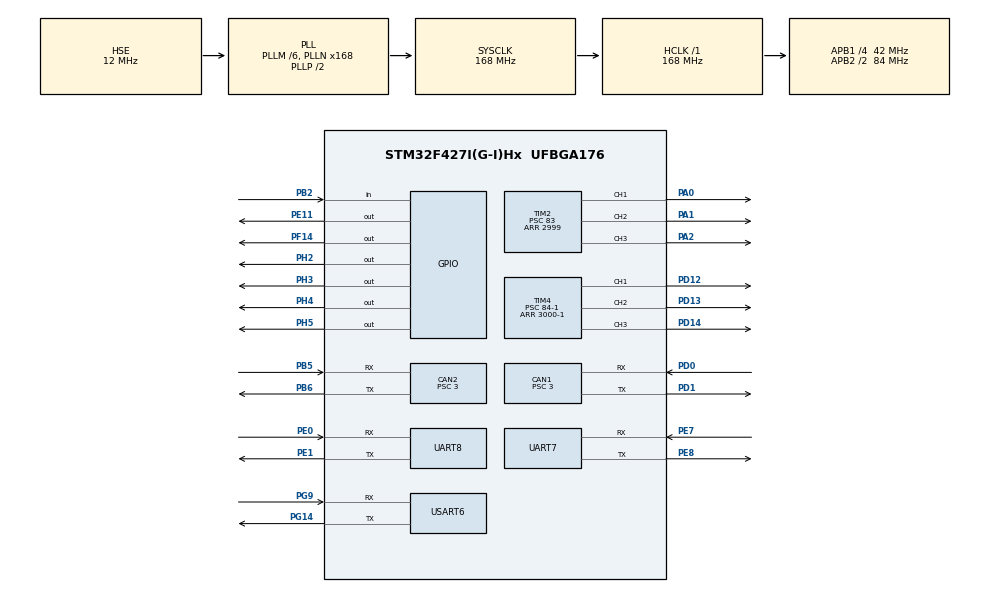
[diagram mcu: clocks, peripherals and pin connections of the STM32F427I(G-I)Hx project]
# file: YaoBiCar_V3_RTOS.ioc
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CAN1.BS1=CAN_BS1_10TQ
CAN1.BS2=CAN_BS2_3TQ
CAN1.CalculateBaudRate=1000000
CAN1.CalculateTimeBit=1000
CAN1.CalculateTimeQuantum=71.42857142857143
CAN1.Prescaler=3
CAN2.BS1=CAN_BS1_10TQ
CAN2.BS2=CAN_BS2_3TQ
CAN2.CalculateBaudRate=1000000
CAN2.CalculateTimeBit=1000
CAN2.CalculateTimeQuantum=71.42857142857143
CAN2.Prescaler=3
Dma.Request0=UART8_RX
Dma.Request1=UART8_TX
Dma.UART8_RX.0.Direction=DMA_PERIPH_TO_MEMORY
Dma.UART8_RX.0.FIFOMode=DMA_FIFOMODE_DISABLE
Dma.UART8_RX.0.Instance=DMA1_Stream6
Dma.UART8_RX.0.MemDataAlignment=DMA_MDATAALIGN_BYTE
Dma.UART8_RX.0.MemInc=DMA_MINC_ENABLE
Dma.UART8_RX.0.Mode=DMA_CIRCULAR
Dma.UART8_RX.0.PeriphDataAlignment=DMA_PDATAALIGN_BYTE
Dma.UART8_RX.0.PeriphInc=DMA_PINC_DISABLE
Dma.UART8_RX.0.Priority=DMA_PRIORITY_VERY_HIGH
Dma.UART8_TX.1.Direction=DMA_MEMORY_TO_PERIPH
Dma.UART8_TX.1.FIFOMode=DMA_FIFOMODE_DISABLE
Dma.UART8_TX.1.Instance=DMA1_Stream0
Dma.UART8_TX.1.MemDataAlignment=DMA_MDATAALIGN_BYTE
Dma.UART8_TX.1.MemInc=DMA_MINC_ENABLE
Dma.UART8_TX.1.Mode=DMA_CIRCULAR
Dma.UART8_TX.1.PeriphDataAlignment=DMA_PDATAALIGN_BYTE
Dma.UART8_TX.1.PeriphInc=DMA_PINC_DISABLE
Dma.UART8_TX.1.Priority=DMA_PRIORITY_VERY_HIGH
FREERTOS.Tasks01=FreeTask,8,128,Free_Task,Default,NULL,Dynamic,NULL,NULL
Mcu.Family=STM32F4
Mcu.Name=STM32F427I(G-I)Hx
Mcu.Package=UFBGA176
NVIC.CAN1_RX0_IRQn=true\:5\:0\:false\:false\:true\:true\:true\:true\:true
NVIC.CAN2_RX0_IRQn=true\:5\:0\:false\:false\:true\:true\:true\:true\:true
NVIC.DMA1_Stream0_IRQn=true\:5\:0\:false\:false\:true\:true\:false\:true\:true
NVIC.DMA1_Stream6_IRQn=true\:5\:0\:false\:false\:true\:true\:false\:true\:true
NVIC.PriorityGroup=NVIC_PRIORITYGROUP_4
NVIC.RCC_IRQn=true\:5\:0\:false\:false\:true\:true\:true\:false\:true
NVIC.TIM1_UP_TIM10_IRQn=true\:5\:0\:false\:false\:true\:true\:true\:true\:true
NVIC.TIM3_IRQn=true\:5\:0\:false\:false\:true\:true\:true\:true\:true
NVIC.TIM4_IRQn=true\:5\:0\:false\:false\:true\:true\:true\:true\:true
NVIC.TIM8_BRK_TIM12_IRQn=true\:5\:0\:false\:false\:true\:true\:true\:true\:true
NVIC.TIM8_TRG_COM_TIM14_IRQn=true\:15\:0\:false\:false\:true\:false\:false\:true\:true
NVIC.TimeBase=TIM8_TRG_COM_TIM14_IRQn
NVIC.TimeBaseIP=TIM14
NVIC.UART7_IRQn=true\:5\:0\:false\:false\:true\:true\:true\:true\:true
NVIC.UART8_IRQn=true\:5\:0\:false\:false\:true\:true\:true\:true\:true
PA0/WKUP.Signal=S_TIM2_CH1_ETR
PA1.Signal=S_TIM2_CH2
PA13.Mode=Serial_Wire
PA13.Signal=SYS_JTMS-SWDIO
PA14.Mode=Serial_Wire
PA14.Signal=SYS_JTCK-SWCLK
PA2.Signal=S_TIM2_CH3
PB2/BOOT1.GPIO_PuPd=GPIO_PULLDOWN
PB2/BOOT1.Signal=GPIO_Input
PB5.Mode=CAN_Activate
PB5.Signal=CAN2_RX
PB6.Mode=CAN_Activate
PB6.Signal=CAN2_TX
PD0.Mode=CAN_Activate
PD0.Signal=CAN1_RX
PD1.Mode=CAN_Activate
PD1.Signal=CAN1_TX
PD12.Signal=S_TIM4_CH1
PD13.Signal=S_TIM4_CH2
PD14.Signal=S_TIM4_CH3
PE0.GPIO_PuPd=GPIO_PULLDOWN
PE0.Mode=Asynchronous
PE0.Signal=UART8_RX
PE1.GPIO_PuPd=GPIO_PULLDOWN
PE1.Mode=Asynchronous
PE1.Signal=UART8_TX
PE11.Signal=GPIO_Output
PE7.Mode=Asynchronous
PE7.Signal=UART7_RX
PE8.Mode=Asynchronous
PE8.Signal=UART7_TX
PF14.Signal=GPIO_Output
PG14.GPIO_PuPd=GPIO_PULLDOWN
PG14.Mode=Asynchronous
PG14.Signal=USART6_TX
PG9.Mode=Asynchronous
PG9.Signal=USART6_RX
PH0/OSC_IN.Mode=HSE-External-Oscillator
PH0/OSC_IN.Signal=RCC_OSC_IN
PH1/OSC_OUT.Mode=HSE-External-Oscillator
PH1/OSC_OUT.Signal=RCC_OSC_OUT
PH2.PinState=GPIO_PIN_SET
PH2.Signal=GPIO_Output
PH3.PinState=GPIO_PIN_SET
PH3.Signal=GPIO_Output
PH4.PinState=GPIO_PIN_SET
PH4.Signal=GPIO_Output
PH5.PinState=GPIO_PIN_SET
PH5.Signal=GPIO_Output
ProjectManager.HeapSize=0x200
ProjectManager.StackSize=0x400
ProjectManager.TargetToolchain=MDK-ARM V5.32
RCC.48MHZClocksFreq_Value=84000000
RCC.AHBFreq_Value=168000000
RCC.APB1CLKDivider=RCC_HCLK_DIV4
RCC.APB1Freq_Value=42000000
RCC.APB1TimFreq_Value=84000000
RCC.APB2CLKDivider=RCC_HCLK_DIV2
RCC.APB2Freq_Value=84000000
RCC.APB2TimFreq_Value=168000000
RCC.CortexFreq_Value=168000000
RCC.HCLKFreq_Value=168000000
RCC.HSE_VALUE=12000000
RCC.HSI_VALUE=16000000
RCC.LSE_VALUE=32768
RCC.PLLM=6
RCC.PLLN=168
RCC.PLLSourceVirtual=RCC_PLLSOURCE_HSE
RCC.SYSCLKFreq_VALUE=168000000
RCC.SYSCLKSource=RCC_SYSCLKSOURCE_PLLCLK
RCC.VCOOutputFreq_Value=336000000
SH.S_TIM2_CH1_ETR.0=TIM2_CH1,PWM Generation1 CH1
SH.S_TIM2_CH2.0=TIM2_CH2,PWM Generation2 CH2
SH.S_TIM2_CH3.0=TIM2_CH3,PWM Generation3 CH3
SH.S_TIM4_CH1.0=TIM4_CH1,PWM Generation1 CH1
SH.S_TIM4_CH2.0=TIM4_CH2,PWM Generation2 CH2
SH.S_TIM4_CH3.0=TIM4_CH3,PWM Generation3 CH3
TIM1.Period=5000-1
TIM1.Prescaler=168-1
TIM12.Period=1000-1
TIM12.Prescaler=168-1
TIM2.Channel-PWM\ Generation1\ CH1=TIM_CHANNEL_1
TIM2.Channel-PWM\ Generation2\ CH2=TIM_CHANNEL_2
TIM2.Channel-PWM\ Generation3\ CH3=TIM_CHANNEL_3
TIM2.Period=2999
TIM2.Prescaler=83
TIM2.Pulse-PWM\ Generation1\ CH1=1500
TIM2.Pulse-PWM\ Generation2\ CH2=1500
TIM2.Pulse-PWM\ Generation3\ CH3=1500
TIM3.Period=83
TIM3.Prescaler=4999
TIM4.Channel-PWM\ Generation1\ CH1=TIM_CHANNEL_1
TIM4.Channel-PWM\ Generation2\ CH2=TIM_CHANNEL_2
TIM4.Channel-PWM\ Generation3\ CH3=TIM_CHANNEL_3
TIM4.Period=3000-1
TIM4.Prescaler=84-1
TIM4.Pulse-PWM\ Generation1\ CH1=1500
TIM4.Pulse-PWM\ Generation2\ CH2=1500
TIM4.Pulse-PWM\ Generation3\ CH3=1500
UART7.VirtualMode=Asynchronous
UART8.VirtualMode=Asynchronous
USART6.VirtualMode=VM_ASYNC
VP_FREERTOS_VS_CMSIS_V2.Mode=CMSIS_V2
VP_SYS_VS_tim14.Mode=TIM14
VP_TIM12_VS_ClockSourceINT.Mode=Internal
VP_TIM1_VS_ClockSourceINT.Mode=Internal
VP_TIM3_VS_ClockSourceINT.Mode=Internal
board=custom

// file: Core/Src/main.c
/* USER CODE BEGIN Header */
/**
  ******************************************************************************
  * @file           : main.c
  * @brief          : Main program body
  ******************************************************************************
  * @attention
  *
  * Copyright (c) 2025 STMicroelectronics.
  * All rights reserved.
  *
  * This software is licensed under terms that can be found in the LICENSE file
  * in the root directory of this software component.
  * If no LICENSE file comes with this software, it is provided AS-IS.
  *
  ******************************************************************************
  */
/* USER CODE END Header */
#include "main.h"
#include "cmsis_os.h"
#include "can.h"
#include "dma.h"
#include "tim.h"
#include "usart.h"
#include "gpio.h"

/* USER CODE BEGIN Includes */
#include "Variable.h"
#include "stdio.h"

/* USER CODE END Includes */

/* USER CODE BEGIN PTD */

/**
  * ��������: �ض���c�⺯��printf��DEBUG_USARTx
  * �������: ��
  * �� �� ֵ: ��
  * ˵    ������
  */
int fputc(int ch, FILE *f)
{
  HAL_UART_Transmit(&huart7, (uint8_t *)&ch, 1, 0xffff);
//    HAL_UART_Transmit_IT(&huart7,(uint8_t *)&ch,sizeof(ch));
  return ch;
}

/* USER CODE END PTD */

void SystemClock_Config(void);
void MX_FREERTOS_Init(void);

int main(void)
{

  /* MCU Configuration--------------------------------------------------------*/

  /* Reset of all peripherals, Initializes the Flash interface and the Systick. */
  HAL_Init();

  /* Configure the system clock */
  SystemClock_Config();

  /* Initialize all configured peripherals */
  MX_GPIO_Init();
  MX_DMA_Init();
  MX_TIM1_Init();
  MX_CAN1_Init();
  MX_CAN2_Init();
  MX_TIM2_Init();
  MX_TIM3_Init();
  MX_TIM4_Init();
  MX_UART8_Init();
  MX_UART7_Init();
  MX_USART6_UART_Init();
  MX_TIM12_Init();

  /* Init scheduler */
  osKernelInitialize();

  /* Call init function for freertos objects (in cmsis_os2.c) */
  MX_FREERTOS_Init();

  /* Start scheduler */
  osKernelStart();

  /* We should never get here as control is now taken by the scheduler */

  /* Infinite loop */
  while (1)
  {

  }
}

void SystemClock_Config(void)
{
  RCC_OscInitTypeDef RCC_OscInitStruct = {0};
  RCC_ClkInitTypeDef RCC_ClkInitStruct = {0};

  /** Configure the main internal regulator output voltage
  */
  __HAL_RCC_PWR_CLK_ENABLE();
  __HAL_PWR_VOLTAGESCALING_CONFIG(PWR_REGULATOR_VOLTAGE_SCALE1);

  /** Initializes the RCC Oscillators according to the specified parameters
  * in the RCC_OscInitTypeDef structure.
  */
  RCC_OscInitStruct.OscillatorType = RCC_OSCILLATORTYPE_HSE;
  RCC_OscInitStruct.HSEState = RCC_HSE_ON;
  RCC_OscInitStruct.PLL.PLLState = RCC_PLL_ON;
  RCC_OscInitStruct.PLL.PLLSource = RCC_PLLSOURCE_HSE;
  RCC_OscInitStruct.PLL.PLLM = 6;
  RCC_OscInitStruct.PLL.PLLN = 168;
  RCC_OscInitStruct.PLL.PLLP = RCC_PLLP_DIV2;
  RCC_OscInitStruct.PLL.PLLQ = 4;
  if (HAL_RCC_OscConfig(&RCC_OscInitStruct) != HAL_OK)
  {
    Error_Handler();
  }

  /** Initializes the CPU, AHB and APB buses clocks
  */
  RCC_ClkInitStruct.ClockType = RCC_CLOCKTYPE_HCLK|RCC_CLOCKTYPE_SYSCLK
                              |RCC_CLOCKTYPE_PCLK1|RCC_CLOCKTYPE_PCLK2;
  RCC_ClkInitStruct.SYSCLKSource = RCC_SYSCLKSOURCE_PLLCLK;
  RCC_ClkInitStruct.AHBCLKDivider = RCC_SYSCLK_DIV1;
  RCC_ClkInitStruct.APB1CLKDivider = RCC_HCLK_DIV4;
  RCC_ClkInitStruct.APB2CLKDivider = RCC_HCLK_DIV2;

  if (HAL_RCC_ClockConfig(&RCC_ClkInitStruct, FLASH_LATENCY_5) != HAL_OK)
  {
    Error_Handler();
  }
}

/* USER CODE BEGIN 4 */
int CNT_TIM2_PID;
/* USER CODE END 4 */

void HAL_TIM_PeriodElapsedCallback(TIM_HandleTypeDef *htim)
{
  if (htim->Instance == TIM14)
  {
    HAL_IncTick();
  }
  /* USER CODE BEGIN Callback 1 */
    if(htim->Instance == TIM3)
    {
        CNT_TIM2_PID++;
        if(CNT_TIM2_PID>=2)
        {

            CNT_TIM2_PID = 0;
            PID_Proc(&F1_motor_pid,F1_Motordata->speed_rpm,Setspeed_F1);
            PID_Proc(&F2_motor_pid,F2_Motordata->speed_rpm,Setspeed_F2);
            PID_Proc(&M1_motor_pid,M1_Motordata->speed_rpm,Setspeed_M1);
            PID_Proc(&M2_motor_pid,M2_Motordata->speed_rpm,Setspeed_M2);
            PID_Proc(&B1_motor_pid,B1_Motordata->speed_rpm,Setspeed_B1);
            PID_Proc(&B2_motor_pid,B2_Motordata->speed_rpm,Setspeed_B2);

            CAN_cmd_Frontend(F1_motor_pid.out,F2_motor_pid.out,M1_motor_pid.out,M2_motor_pid.out);
            CAN_cmd_Backend(B1_motor_pid.out,B2_motor_pid.out,0,0);
//            DMA_Send_IntData();
        }
    }

    if(htim->Instance == TIM1)
    {
        RD_Work(RD_F1_Data,RD_F2_Data,RD_M1_Data,RD_M2_Data,RD_B1_Data,RD_B2_Data);
    }
  /* USER CODE END Callback 1 */
}

void Error_Handler(void)
{
  __disable_irq();
  while (1)
  {
  }
}

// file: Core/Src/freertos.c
/* USER CODE BEGIN Header */
/**
  ******************************************************************************
  * File Name          : freertos.c
  * Description        : Code for freertos applications
  ******************************************************************************
  * @attention
  *
  * Copyright (c) 2025 STMicroelectronics.
  * All rights reserved.
  *
  * This software is licensed under terms that can be found in the LICENSE file
  * in the root directory of this software component.
  * If no LICENSE file comes with this software, it is provided AS-IS.
  *
  ******************************************************************************
  */
/* USER CODE END Header */

#include "FreeRTOS.h"
#include "task.h"
#include "main.h"
#include "cmsis_os.h"

/* USER CODE BEGIN Includes */
#include "Variable.h"
#include "JoyStick.h"
#include "stdio.h"
/* USER CODE END Includes */

/* USER CODE BEGIN Variables */

/* Car_InIt_Cariable */
osThreadId_t CarInitTaskHandle;
const osThreadAttr_t CarInitTask_attributes = {
  .name = "CarInitTask",
  .stack_size = 172 * 4,
  .priority = (osPriority_t) osPriorityRealtime7,
};

/* USER CODE END Variables */
/* Definitions for FreeTask */
osThreadId_t FreeTaskHandle;
const osThreadAttr_t FreeTask_attributes = {
  .name = "FreeTask",
  .stack_size = 128 * 4,
  .priority = (osPriority_t) osPriorityLow,
};

/* USER CODE BEGIN FunctionPrototypes */
void Car_Init_Task(void *argument);
/* USER CODE END FunctionPrototypes */

void Free_Task(void *argument);

void MX_FREERTOS_Init(void); /* (MISRA C 2004 rule 8.1) */

void MX_FREERTOS_Init(void) {

  /* Create the thread(s) */
  /* creation of FreeTask */
  FreeTaskHandle = osThreadNew(Free_Task, NULL, &FreeTask_attributes);

  /* USER CODE BEGIN RTOS_THREADS */
  CarInitTaskHandle = osThreadNew(Car_Init_Task,NULL,&CarInitTask_attributes);

  /* add threads, ... */
  /* USER CODE END RTOS_THREADS */

}

void Free_Task(void *argument)
{
  /* USER CODE BEGIN Free_Task */
    int task_count;
  /* Infinite loop */
  for(;;)
  {
      PS2_DataKey();
      PS2_Start();
        task_count=uxTaskGetNumberOfTasks();
        printf("%d\r\n",task_count);
      HAL_UART_Transmit_IT(&huart7,(uint8_t *)"Free\r\n",6);

        osDelay(100);
  }
  /* USER CODE END Free_Task */
}

/* USER CODE BEGIN Application */
void Car_Init_Task(void *argument)
{
    int task_count;

  for(;;)
  {
        HAL_TIM_Base_Start_IT(&htim1);
        HAL_TIM_Base_Start_IT(&htim3);
        HAL_TIM_Base_Start_IT(&htim12);
        Motor_Init();
        RudderDesk_ResetOn();

        HAL_UARTEx_ReceiveToIdle_DMA(&huart8,(uint8_t *)JoyStick_PackageData,20);

        task_count=uxTaskGetNumberOfTasks();
        printf("%d\r\n",task_count);

        vTaskDelete(NULL);

  }

}
/* USER CODE END Application */
